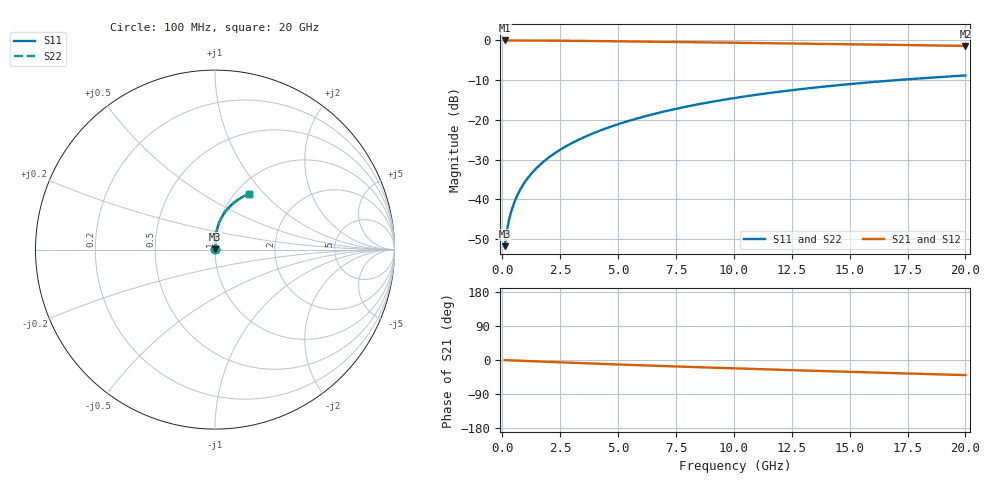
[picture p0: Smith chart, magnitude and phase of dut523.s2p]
! Touchstone file exported from HFSS 2024.1.0
!  File:  C:/UserFiles/LocalFiles/RDL_TSV_Batchsim/temp_RDL_top_523_1779679905.aedt
!  Generated:  11:33:49 AM May 25, 2026
!  Design:  RDL_top
!  Project:  temp_RDL_top_523_1779679905
!  Setup:  Setup1
!  Solution:  Sweep
! Variables:
!  dtsv = 10.80580581um
!  hbump = 3um
!  htsv = 60.62um
!  ldown = 100um
!  lrdl = 561.18um
!  p = 40
!  p1 = 57.16um
!  rhole = 1um
!  t = 450um
!  tdown = 3.915915916um
!  trdl = 4.97um
!  wdown = 15.38538539um
!  wrdl = 24.36um
# GHz S MA R 50.000000
! Terminal data exported
! Port[1] = Box2_T1
! Port[2] = Box2_T2
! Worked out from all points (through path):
!   200 points, 100 MHz to 20 GHz, reference 50 ohm
!   highest |S21| = -0.02 dB at 100 MHz (marker M1); lowest = -1.4 dB at 20 GHz (marker M2)
!   group delay of S21, straight-line fit = 5.47 ps
!   lowest |S11| = -51.8 dB at 100 MHz (marker M3), VSWR 1.01, Z = 50.2 + j0.182 ohm
!   |S11| at or under -10 dB: start of sweep to 17.04 GHz
!   |S22| runs from -51.8 to -8.8 dB; largest |S21 - S12| = 2.6e-15
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0.1  0.002568 45.0  0.9982 -0.3  0.9982 -0.3  0.002568 45.0
! Gamma 0 0 0 0
! Port Impedance 50 0 50 0
0.2  0.004062 61.8  0.998 -0.5  0.998 -0.5  0.004062 61.8
0.3  0.005661 68.9  0.9978 -0.8  0.9978 -0.8  0.005661 68.9
0.4  0.007262 72.8  0.9977 -1.0  0.9977 -1.0  0.007262 72.8
0.5  0.008856 75.4  0.9975 -1.3  0.9975 -1.3  0.008856 75.4
0.7  0.01205 78.8  0.9971 -1.7  0.9971 -1.7  0.01205 78.8
1  0.01688 81.8  0.9965 -2.5  0.9965 -2.5  0.01688 81.8
1.4  0.02343 84.0  0.9954 -3.5  0.9954 -3.5  0.02343 84.0
1.7  0.02842 85.0  0.9944 -4.2  0.9944 -4.2  0.02842 85.0
2  0.03348 85.6  0.9932 -4.9  0.9932 -4.9  0.03348 85.6
2.7  0.04557 86.5  0.9898 -6.6  0.9898 -6.6  0.04557 86.5
3.5  0.05987 86.8  0.9851 -8.4  0.9851 -8.4  0.05987 86.8
4.2  0.0728 86.5  0.9804 -10.0  0.9804 -10.0  0.0728 86.5
5  0.08801 86.0  0.9746 -11.8  0.9746 -11.8  0.08801 86.0
5.9  0.1056 84.9  0.9678 -13.7  0.9678 -13.7  0.1056 85.0
6.8  0.1235 83.7  0.9607 -15.6  0.9607 -15.6  0.1235 83.7
8.4  0.1556 81.0  0.9479 -18.9  0.9479 -18.9  0.1557 81.0
10.1  0.1897 77.7  0.9341 -22.2  0.9341 -22.2  0.1897 77.7
11.7  0.2209 74.6  0.921 -25.3  0.921 -25.3  0.221 74.6
13.4  0.2529 71.2  0.9072 -28.4  0.9072 -28.4  0.253 71.2
16.7  0.3107 64.7  0.8801 -34.3  0.8801 -34.3  0.3107 64.7
20  0.3619 58.7  0.8531 -39.9  0.8531 -39.9  0.362 58.7
